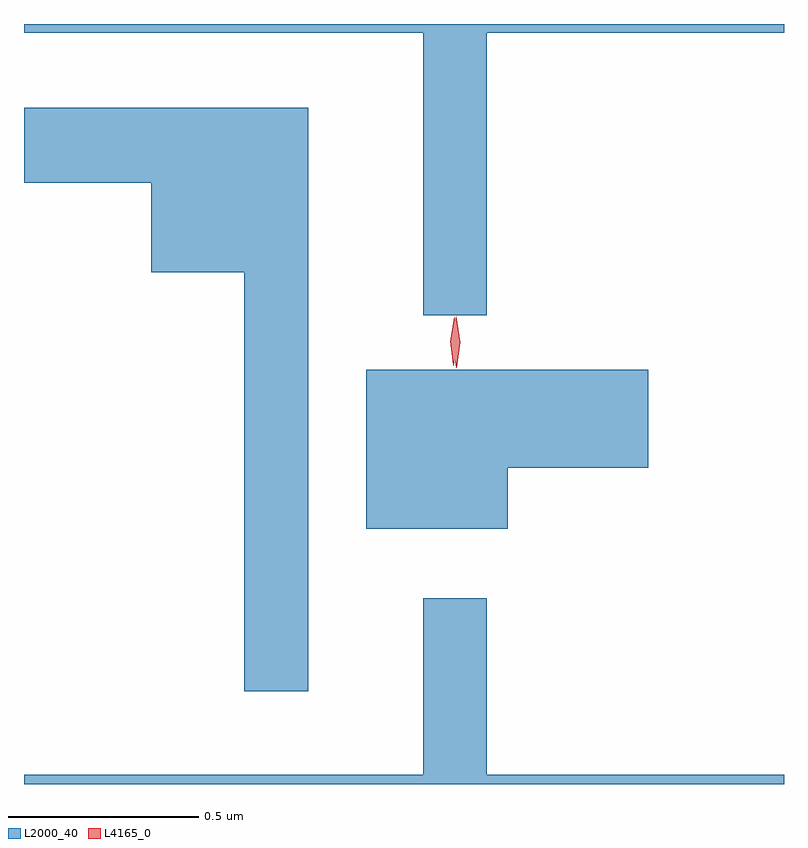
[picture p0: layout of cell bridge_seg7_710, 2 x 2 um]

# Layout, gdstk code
import gdstk
lib = gdstk.Library(unit=1e-6, precision=1e-09)
def P(c, l, *ps):  # polygons
    for p in ps: c.add(gdstk.Polygon(p, *l))
L2000_40 = (2000, 40)
L4165_0 = (4165, 0)

bridge_seg7_710 = lib.new_cell('bridge_seg7_710')
P(bridge_seg7_710, L2000_40, [(997.249,1705.436),(998.031,1705.436),(998.031,1705.459),(996.031,1705.459),(996.031,1705.436),(997.081,1705.436),(997.081,1704.693),(997.249,1704.693)],
  [(996.779,1705.239),(996.031,1705.239),(996.031,1705.041),(996.366,1705.041),(996.366,1704.806),(996.611,1704.806),(996.611,1703.703),(996.779,1703.703)],
  [(997.304,1704.291),(997.674,1704.291),(997.674,1704.549),(996.931,1704.549),(996.931,1704.131),(997.304,1704.131)],
  [(998.031,1703.484),(997.249,1703.484),(997.249,1703.948),(997.081,1703.948),(997.081,1703.484),(996.031,1703.484),(996.031,1703.459),(998.031,1703.459)])
P(bridge_seg7_710, L4165_0, [(997.169,1704.554),(997.159,1704.622),(997.168,1704.69),(997.169,1704.69),(997.169,1704.69),(997.179,1704.622),(997.17,1704.554),(997.17,1704.554)],
  [(997.162,1704.56),(997.161,1704.561),(997.153,1704.624),(997.163,1704.686),(997.164,1704.687),(997.164,1704.686),(997.173,1704.624),(997.162,1704.561)])

lib.write_gds('bridge_seg7_710.gds')
